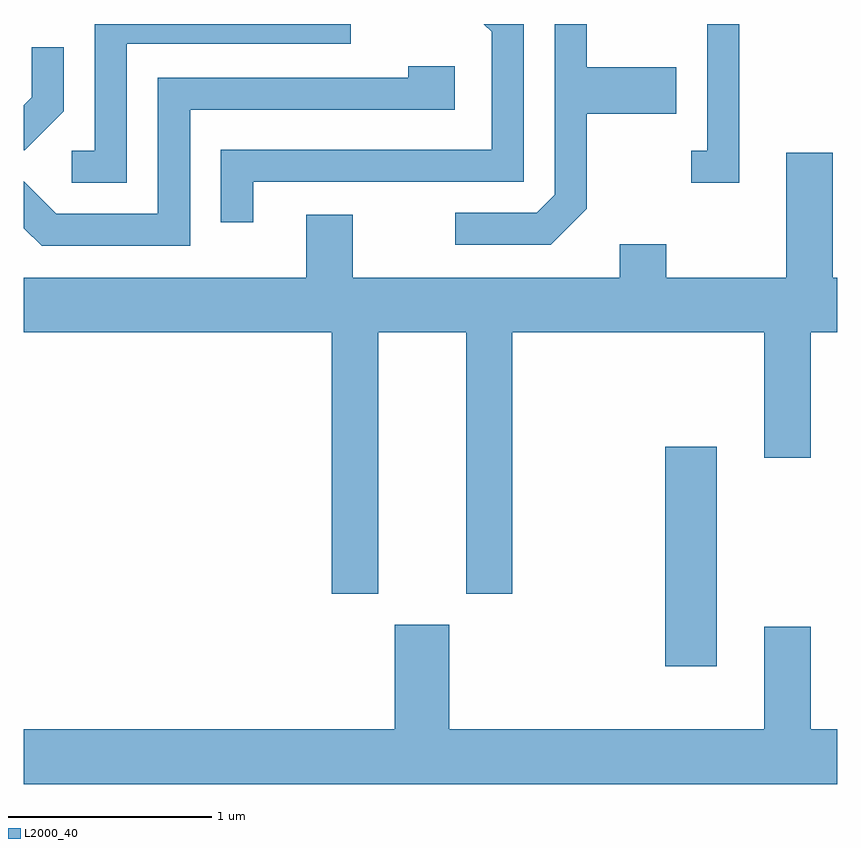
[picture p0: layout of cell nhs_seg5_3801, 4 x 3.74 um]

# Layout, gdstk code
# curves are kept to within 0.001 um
import gdstk
lib = gdstk.Library(unit=1e-6, precision=1e-09)
def R(c, l, rs):  # rectangles x0, y0, x1, y1
    for r in rs: c.add(gdstk.rectangle(r[:2], r[2:], *l))
def P(c, l, *ps):  # polygons
    for p in ps: c.add(gdstk.Polygon(p, *l))
L2000_40 = (2000, 40)

nhs_seg5_3801 = lib.new_cell('nhs_seg5_3801')
R(nhs_seg5_3801, L2000_40, [(300.766,1472.916,301.019,1473.994)])
P(nhs_seg5_3801, L2000_40, [(301.129,1476.072),(300.971,1476.072),(300.971,1475.449),(300.893,1475.449),(300.893,1475.291),(301.129,1475.291)],
  [(300.379,1475.164),(300.379,1475.631),(300.819,1475.631),(300.819,1475.859),(300.379,1475.859),(300.379,1476.072),(300.221,1476.072),(300.221,1475.232),(300.134,1475.144),(299.733,1475.144),(299.733,1474.986),(300.202,1474.986)],
  [(298.119,1475.976),(299.218,1475.976),(299.218,1476.072),(297.961,1476.072),(297.961,1475.449),(297.848,1475.449),(297.848,1475.291),(298.119,1475.291)],
  [(298.739,1475.296),(300.069,1475.296),(300.069,1476.072),(299.873,1476.072),(299.911,1476.034),(299.911,1475.454),(298.581,1475.454),(298.581,1475.098),(298.739,1475.098)],
  [(297.809,1475.644),(297.809,1475.958),(297.651,1475.958),(297.651,1475.712),(297.611,1475.672),(297.611,1475.451),(297.617,1475.451)],
  [(298.429,1475.651),(299.729,1475.651),(299.729,1475.864),(299.501,1475.864),(299.501,1475.809),(298.271,1475.809),(298.271,1475.139),(297.772,1475.139),(297.611,1475.299),(297.611,1475.069),(297.699,1474.981),(298.429,1474.981)],
  [(299.354,1474.556),(299.786,1474.556),(299.786,1473.271),(300.014,1473.271),(300.014,1474.556),(301.251,1474.556),(301.251,1473.941),(301.479,1473.941),(301.479,1474.556),(301.611,1474.556),(301.611,1474.824),(301.589,1474.824),(301.589,1475.439),(301.361,1475.439),(301.361,1474.824),(300.769,1474.824),(300.769,1474.989),(300.541,1474.989),(300.541,1474.824),(299.229,1474.824),(299.229,1475.134),(299.001,1475.134),(299.001,1474.824),(297.611,1474.824),(297.611,1474.556),(299.126,1474.556),(299.126,1473.271),(299.354,1473.271)],
  [(301.611,1472.604),(301.479,1472.604),(301.479,1473.109),(301.251,1473.109),(301.251,1472.604),(299.704,1472.604),(299.704,1473.119),(299.436,1473.119),(299.436,1472.604),(297.611,1472.604),(297.611,1472.336),(301.611,1472.336)])

lib.write_gds('nhs_seg5_3801.gds')
